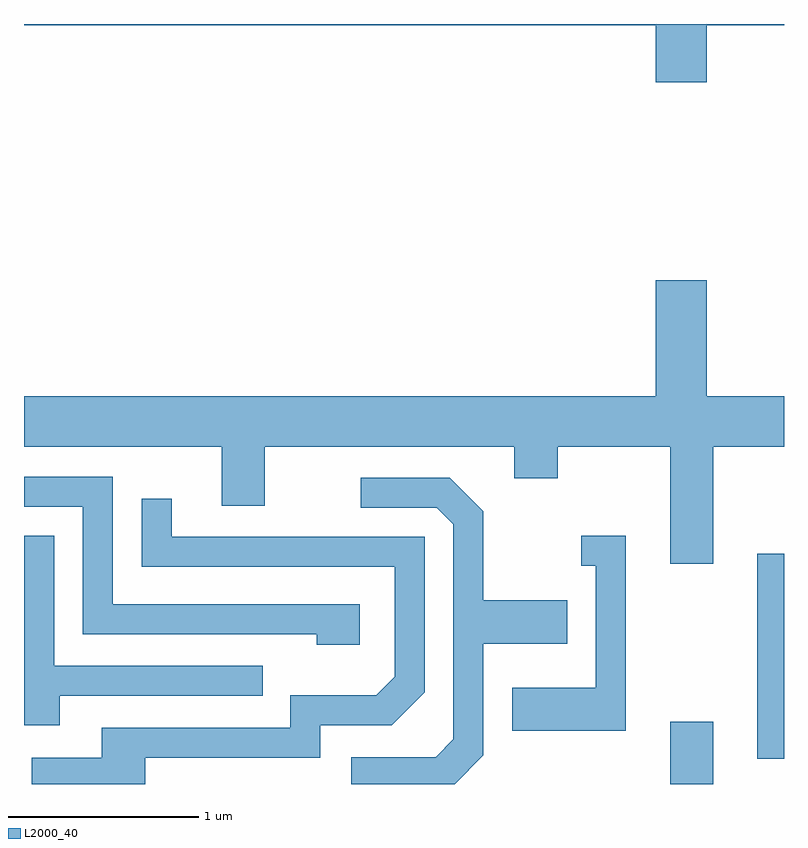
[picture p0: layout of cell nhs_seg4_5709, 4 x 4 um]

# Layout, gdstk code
import gdstk
lib = gdstk.Library(unit=1e-6, precision=1e-09)
def R(c, l, rs):  # rectangles x0, y0, x1, y1
    for r in rs: c.add(gdstk.rectangle(r[:2], r[2:], *l))
def P(c, l, *ps):  # polygons
    for p in ps: c.add(gdstk.Polygon(p, *l))
L2000_40 = (2000, 40)

nhs_seg4_5709 = lib.new_cell('nhs_seg4_5709')
R(nhs_seg4_5709, L2000_40, [(355.011,1383.982,355.239,1384.309), (355.471,1384.116,355.611,1385.194)])
P(nhs_seg4_5709, L2000_40, [(355.204,1387.976),(355.611,1387.976),(355.611,1387.982),(351.611,1387.982),(351.611,1387.976),(354.936,1387.976),(354.936,1387.676),(355.204,1387.676)],
  [(355.239,1385.756),(355.611,1385.756),(355.611,1386.024),(355.204,1386.024),(355.204,1386.634),(354.936,1386.634),(354.936,1386.024),(351.611,1386.024),(351.611,1385.756),(352.651,1385.756),(352.651,1385.446),(352.879,1385.446),(352.879,1385.756),(354.191,1385.756),(354.191,1385.591),(354.419,1385.591),(354.419,1385.756),(355.011,1385.756),(355.011,1385.141),(355.239,1385.141)],
  [(353.379,1384.929),(352.079,1384.929),(352.079,1385.599),(351.611,1385.599),(351.611,1385.441),(351.921,1385.441),(351.921,1384.771),(353.151,1384.771),(353.151,1384.716),(353.379,1384.716)],
  [(354.029,1384.134),(354.029,1384.721),(354.469,1384.721),(354.469,1384.949),(354.029,1384.949),(354.029,1385.417),(353.852,1385.594),(353.383,1385.594),(353.383,1385.436),(353.784,1385.436),(353.871,1385.349),(353.871,1384.217),(353.779,1384.124),(353.333,1384.124),(353.333,1383.982),(353.878,1383.982)],
  [(352.249,1384.121),(353.169,1384.121),(353.169,1384.291),(353.547,1384.291),(353.719,1384.464),(353.719,1385.284),(352.389,1385.284),(352.389,1385.483),(352.231,1385.483),(352.231,1385.126),(353.561,1385.126),(353.561,1384.547),(353.464,1384.449),(353.011,1384.449),(353.011,1384.279),(352.021,1384.279),(352.021,1384.119),(351.653,1384.119),(351.653,1383.982),(352.249,1383.982)],
  [(351.799,1384.446),(352.868,1384.446),(352.868,1384.604),(351.769,1384.604),(351.769,1385.289),(351.611,1385.289),(351.611,1384.291),(351.799,1384.291)],
  [(354.779,1385.289),(354.543,1385.289),(354.543,1385.131),(354.621,1385.131),(354.621,1384.489),(354.181,1384.489),(354.181,1384.261),(354.779,1384.261)])

lib.write_gds('nhs_seg4_5709.gds')
